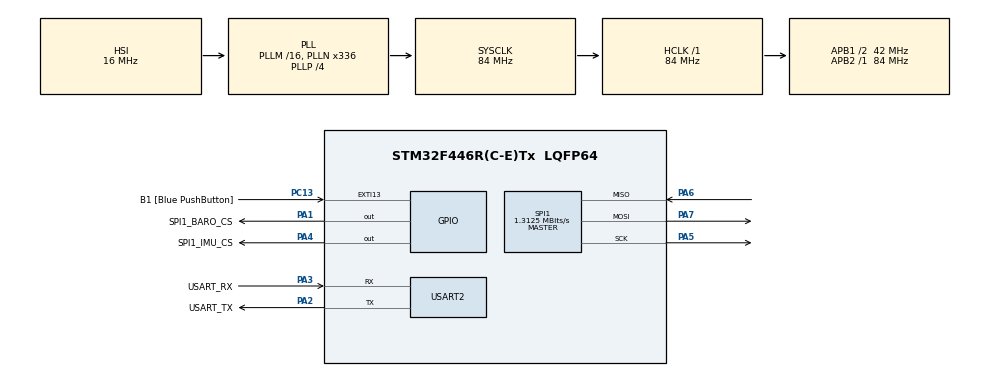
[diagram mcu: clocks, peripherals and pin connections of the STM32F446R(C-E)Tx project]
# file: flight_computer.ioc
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Mcu.Family=STM32F4
Mcu.Name=STM32F446R(C-E)Tx
Mcu.Package=LQFP64
NVIC.PriorityGroup=NVIC_PRIORITYGROUP_0
NVIC.TIM2_IRQn=true\:0\:0\:false\:false\:true\:true\:true\:true
PA1.GPIO_Label=SPI1_BARO_CS
PA1.PinState=GPIO_PIN_SET
PA1.Signal=GPIO_Output
PA13.GPIO_Label=TMS
PA13.Signal=SYS_JTMS-SWDIO
PA14.GPIO_Label=TCK
PA14.Signal=SYS_JTCK-SWCLK
PA2.GPIO_Label=USART_TX
PA2.Mode=Asynchronous
PA2.Signal=USART2_TX
PA3.GPIO_Label=USART_RX
PA3.Mode=Asynchronous
PA3.Signal=USART2_RX
PA4.GPIO_Label=SPI1_IMU_CS
PA4.PinState=GPIO_PIN_SET
PA4.Signal=GPIO_Output
PA5.Mode=Full_Duplex_Master
PA5.Signal=SPI1_SCK
PA6.Mode=Full_Duplex_Master
PA6.Signal=SPI1_MISO
PA7.Mode=Full_Duplex_Master
PA7.Signal=SPI1_MOSI
PB3.GPIO_Label=SWO
PB3.Signal=SYS_JTDO-SWO
PC13.GPIO_Label=B1 [Blue PushButton]
PC13.GPIO_ModeDefaultEXTI=GPIO_MODE_IT_FALLING
PC13.Signal=GPXTI13
PC14-OSC32_IN.Signal=RCC_OSC32_IN
PC15-OSC32_OUT.Signal=RCC_OSC32_OUT
PH0-OSC_IN.Signal=RCC_OSC_IN
PH1-OSC_OUT.Signal=RCC_OSC_OUT
ProjectManager.HeapSize=0x200
ProjectManager.StackSize=0x400
ProjectManager.TargetToolchain=STM32CubeIDE
RCC.AHBFreq_Value=84000000
RCC.APB1CLKDivider=RCC_HCLK_DIV2
RCC.APB1Freq_Value=42000000
RCC.APB1TimFreq_Value=84000000
RCC.APB2Freq_Value=84000000
RCC.APB2TimFreq_Value=84000000
RCC.CortexFreq_Value=84000000
RCC.FLatency-AdvancedSettings=FLASH_LATENCY_2
RCC.HCLKFreq_Value=84000000
RCC.HSE_VALUE=8000000
RCC.HSI_VALUE=16000000
RCC.LSE_VALUE=32768
RCC.PLLN=336
RCC.PLLP=RCC_PLLP_DIV4
RCC.SYSCLKFreq_VALUE=84000000
RCC.SYSCLKSource=RCC_SYSCLKSOURCE_PLLCLK
RCC.USBFreq_Value=168000000
RCC.VCOOutputFreq_Value=336000000
SPI1.BaudRatePrescaler=SPI_BAUDRATEPRESCALER_64
SPI1.CalculateBaudRate=1.3125 MBits/s
SPI1.Direction=SPI_DIRECTION_2LINES
SPI1.Mode=SPI_MODE_MASTER
SPI1.VirtualType=VM_MASTER
TIM2.Period=999
TIM2.Prescaler=83
USART2.VirtualMode=VM_ASYNC
VP_TIM2_VS_ClockSourceINT.Mode=Internal
board=NUCLEO-F446RE

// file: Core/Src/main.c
/* USER CODE BEGIN Header */
/**
  ******************************************************************************
  * @file           : main.c
  * @brief          : Main program body
  ******************************************************************************
  * @attention
  *
  * Copyright (c) 2026 STMicroelectronics.
  * All rights reserved.
  *
  * This software is licensed under terms that can be found in the LICENSE file
  * in the root directory of this software component.
  * If no LICENSE file comes with this software, it is provided AS-IS.
  *
  ******************************************************************************
  */
/* USER CODE END Header */
#include "main.h"

/* USER CODE BEGIN Includes */
#include "stdio.h"
#include "icm_20948.h"
#include "bmp_280.h"
#include <math.h>
#include "quaternion.h"
#include "attitude_filter.h"

/* USER CODE END Includes */

SPI_HandleTypeDef hspi1;

TIM_HandleTypeDef htim2;

UART_HandleTypeDef huart2;

void SystemClock_Config(void);
static void MX_GPIO_Init(void);
static void MX_SPI1_Init(void);
static void MX_USART2_UART_Init(void);
static void MX_TIM2_Init(void);

/* USER CODE BEGIN 0 */
icm_20948_data_t imu_data;
icm_20948_scaled_data_t imu_scaled_data;
bmp_280_data_t baro_data;

attitude_filter_t filter;

const float alpha = 0.02f;

float pitch;
float roll;
float yaw;

float altitude;

volatile uint32_t system_time_ms = 0;
volatile uint32_t last_time_ms = 0;

void HAL_TIM_PeriodElapsedCallback(TIM_HandleTypeDef *htim) {
    if (htim->Instance == TIM2) {
        system_time_ms++;
    }
}

/* USER CODE END 0 */

int main(void)
{

  /* MCU Configuration--------------------------------------------------------*/

  /* Reset of all peripherals, Initializes the Flash interface and the Systick. */
  HAL_Init();

  /* Configure the system clock */
  SystemClock_Config();

  /* Initialize all configured peripherals */
  MX_GPIO_Init();
  MX_SPI1_Init();
  MX_USART2_UART_Init();
  MX_TIM2_Init();
  /* USER CODE BEGIN 2 */
  icm_20948_init();
  bmp_280_init();
  HAL_TIM_Base_Start_IT(&htim2);
  attitude_filter_init(&filter, alpha);

  /* USER CODE END 2 */

  /* Infinite loop */
  while (1)
  {

    /* USER CODE BEGIN 3 */
	  if (system_time_ms - last_time_ms <= 20) continue;

	  float dt = (system_time_ms - last_time_ms) / 1000.0f;
	  last_time_ms = system_time_ms;

	  icm_20948_read_data(&imu_data);
	  icm_20948_read_scaled_data(&imu_scaled_data, &imu_data);

	  attitude_filter_update(&filter, &imu_scaled_data, dt);
	  attitude_filter_get_euler(&filter, &roll, &pitch, &yaw);

	  bmp_280_read_data(&baro_data);
	  altitude = bmp_280_get_relative_altitude(&baro_data);

  }
  /* USER CODE END 3 */
}

void SystemClock_Config(void)
{
  RCC_OscInitTypeDef RCC_OscInitStruct = {0};
  RCC_ClkInitTypeDef RCC_ClkInitStruct = {0};

  /** Configure the main internal regulator output voltage
  */
  __HAL_RCC_PWR_CLK_ENABLE();
  __HAL_PWR_VOLTAGESCALING_CONFIG(PWR_REGULATOR_VOLTAGE_SCALE3);

  /** Initializes the RCC Oscillators according to the specified parameters
  * in the RCC_OscInitTypeDef structure.
  */
  RCC_OscInitStruct.OscillatorType = RCC_OSCILLATORTYPE_HSI;
  RCC_OscInitStruct.HSIState = RCC_HSI_ON;
  RCC_OscInitStruct.HSICalibrationValue = RCC_HSICALIBRATION_DEFAULT;
  RCC_OscInitStruct.PLL.PLLState = RCC_PLL_ON;
  RCC_OscInitStruct.PLL.PLLSource = RCC_PLLSOURCE_HSI;
  RCC_OscInitStruct.PLL.PLLM = 16;
  RCC_OscInitStruct.PLL.PLLN = 336;
  RCC_OscInitStruct.PLL.PLLP = RCC_PLLP_DIV4;
  RCC_OscInitStruct.PLL.PLLQ = 2;
  RCC_OscInitStruct.PLL.PLLR = 2;
  if (HAL_RCC_OscConfig(&RCC_OscInitStruct) != HAL_OK)
  {
    Error_Handler();
  }

  /** Initializes the CPU, AHB and APB buses clocks
  */
  RCC_ClkInitStruct.ClockType = RCC_CLOCKTYPE_HCLK|RCC_CLOCKTYPE_SYSCLK
                              |RCC_CLOCKTYPE_PCLK1|RCC_CLOCKTYPE_PCLK2;
  RCC_ClkInitStruct.SYSCLKSource = RCC_SYSCLKSOURCE_PLLCLK;
  RCC_ClkInitStruct.AHBCLKDivider = RCC_SYSCLK_DIV1;
  RCC_ClkInitStruct.APB1CLKDivider = RCC_HCLK_DIV2;
  RCC_ClkInitStruct.APB2CLKDivider = RCC_HCLK_DIV1;

  if (HAL_RCC_ClockConfig(&RCC_ClkInitStruct, FLASH_LATENCY_2) != HAL_OK)
  {
    Error_Handler();
  }
}

static void MX_SPI1_Init(void)
{

  /* SPI1 parameter configuration*/
  hspi1.Instance = SPI1;
  hspi1.Init.Mode = SPI_MODE_MASTER;
  hspi1.Init.Direction = SPI_DIRECTION_2LINES;
  hspi1.Init.DataSize = SPI_DATASIZE_8BIT;
  hspi1.Init.CLKPolarity = SPI_POLARITY_LOW;
  hspi1.Init.CLKPhase = SPI_PHASE_1EDGE;
  hspi1.Init.NSS = SPI_NSS_SOFT;
  hspi1.Init.BaudRatePrescaler = SPI_BAUDRATEPRESCALER_64;
  hspi1.Init.FirstBit = SPI_FIRSTBIT_MSB;
  hspi1.Init.TIMode = SPI_TIMODE_DISABLE;
  hspi1.Init.CRCCalculation = SPI_CRCCALCULATION_DISABLE;
  hspi1.Init.CRCPolynomial = 10;
  if (HAL_SPI_Init(&hspi1) != HAL_OK)
  {
    Error_Handler();
  }

}

static void MX_TIM2_Init(void)
{

  TIM_ClockConfigTypeDef sClockSourceConfig = {0};
  TIM_MasterConfigTypeDef sMasterConfig = {0};

  htim2.Instance = TIM2;
  htim2.Init.Prescaler = 83;
  htim2.Init.CounterMode = TIM_COUNTERMODE_UP;
  htim2.Init.Period = 999;
  htim2.Init.ClockDivision = TIM_CLOCKDIVISION_DIV1;
  htim2.Init.AutoReloadPreload = TIM_AUTORELOAD_PRELOAD_DISABLE;
  if (HAL_TIM_Base_Init(&htim2) != HAL_OK)
  {
    Error_Handler();
  }
  sClockSourceConfig.ClockSource = TIM_CLOCKSOURCE_INTERNAL;
  if (HAL_TIM_ConfigClockSource(&htim2, &sClockSourceConfig) != HAL_OK)
  {
    Error_Handler();
  }
  sMasterConfig.MasterOutputTrigger = TIM_TRGO_RESET;
  sMasterConfig.MasterSlaveMode = TIM_MASTERSLAVEMODE_DISABLE;
  if (HAL_TIMEx_MasterConfigSynchronization(&htim2, &sMasterConfig) != HAL_OK)
  {
    Error_Handler();
  }

}

static void MX_USART2_UART_Init(void)
{

  huart2.Instance = USART2;
  huart2.Init.BaudRate = 115200;
  huart2.Init.WordLength = UART_WORDLENGTH_8B;
  huart2.Init.StopBits = UART_STOPBITS_1;
  huart2.Init.Parity = UART_PARITY_NONE;
  huart2.Init.Mode = UART_MODE_TX_RX;
  huart2.Init.HwFlowCtl = UART_HWCONTROL_NONE;
  huart2.Init.OverSampling = UART_OVERSAMPLING_16;
  if (HAL_UART_Init(&huart2) != HAL_OK)
  {
    Error_Handler();
  }

}

static void MX_GPIO_Init(void)
{
  GPIO_InitTypeDef GPIO_InitStruct = {0};
  /* USER CODE BEGIN MX_GPIO_Init_1 */
  GPIO_InitStruct.Pin = GPIO_PIN_2|GPIO_PIN_3;
  GPIO_InitStruct.Mode = GPIO_MODE_AF_PP;
  GPIO_InitStruct.Pull = GPIO_NOPULL;
  GPIO_InitStruct.Speed = GPIO_SPEED_FREQ_VERY_HIGH;
  GPIO_InitStruct.Alternate = GPIO_AF7_USART2;
  HAL_GPIO_Init(GPIOA, &GPIO_InitStruct);
  /* USER CODE END MX_GPIO_Init_1 */

  /* GPIO Ports Clock Enable */
  __HAL_RCC_GPIOC_CLK_ENABLE();
  __HAL_RCC_GPIOH_CLK_ENABLE();
  __HAL_RCC_GPIOA_CLK_ENABLE();
  __HAL_RCC_GPIOB_CLK_ENABLE();

  /*Configure GPIO pin Output Level */
  HAL_GPIO_WritePin(GPIOA, SPI1_BARO_CS_Pin|SPI1_IMU_CS_Pin, GPIO_PIN_SET);

  /*Configure GPIO pin : B1_Pin */
  GPIO_InitStruct.Pin = B1_Pin;
  GPIO_InitStruct.Mode = GPIO_MODE_IT_FALLING;
  GPIO_InitStruct.Pull = GPIO_NOPULL;
  HAL_GPIO_Init(B1_GPIO_Port, &GPIO_InitStruct);

  /*Configure GPIO pins : SPI1_BARO_CS_Pin SPI1_IMU_CS_Pin */
  GPIO_InitStruct.Pin = SPI1_BARO_CS_Pin|SPI1_IMU_CS_Pin;
  GPIO_InitStruct.Mode = GPIO_MODE_OUTPUT_PP;
  GPIO_InitStruct.Pull = GPIO_NOPULL;
  GPIO_InitStruct.Speed = GPIO_SPEED_FREQ_LOW;
  HAL_GPIO_Init(GPIOA, &GPIO_InitStruct);

}

/* USER CODE BEGIN 4 */

int _write(int file, char *ptr, int len)
{
  (void)file;
  int DataIdx;

  for (DataIdx = 0; DataIdx < len; DataIdx++)
  {
    ITM_SendChar(*ptr++);
  }
  return len;
}

/* USER CODE END 4 */

void Error_Handler(void)
{
  __disable_irq();
  while (1)
  {
  }
}
